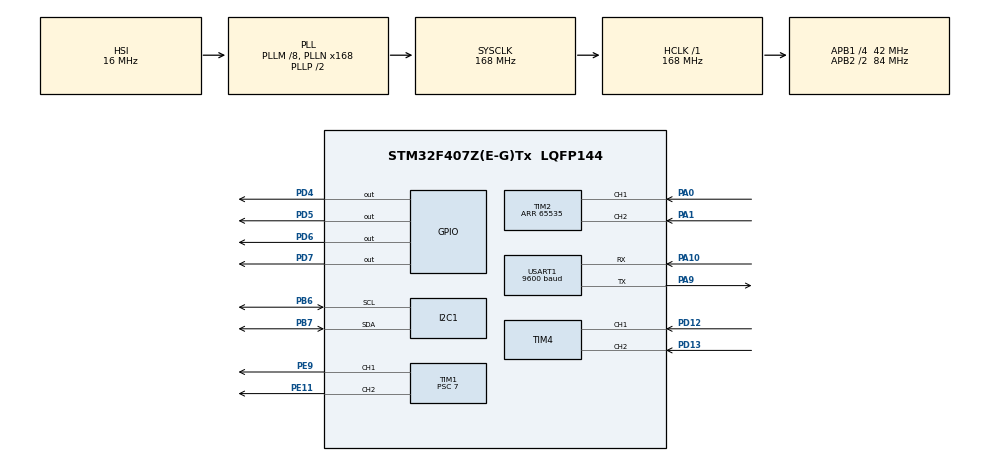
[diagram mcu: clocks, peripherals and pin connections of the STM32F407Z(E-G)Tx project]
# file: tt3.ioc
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FREERTOS.Tasks01=defaultTask,24,128,StartDefaultTask,Default,NULL,Dynamic,NULL,NULL;myTask02,30,128,StartTask02,Default,NULL,Dynamic,NULL,NULL;myTask03,31,128,StartTask03,Default,NULL,Dynamic,NULL,NULL
Mcu.Family=STM32F4
Mcu.Name=STM32F407Z(E-G)Tx
Mcu.Package=LQFP144
NVIC.I2C1_ER_IRQn=true\:5\:0\:false\:false\:true\:true\:true\:true\:true
NVIC.I2C1_EV_IRQn=true\:5\:0\:false\:false\:true\:true\:true\:true\:true
NVIC.PriorityGroup=NVIC_PRIORITYGROUP_4
NVIC.TIM6_DAC_IRQn=true\:5\:0\:false\:false\:true\:true\:true\:true\:true
NVIC.TIM7_IRQn=true\:15\:0\:false\:false\:true\:false\:false\:true\:true
NVIC.TimeBase=TIM7_IRQn
NVIC.TimeBaseIP=TIM7
NVIC.USART1_IRQn=true\:5\:0\:false\:false\:true\:true\:true\:true\:true
PA0-WKUP.Signal=S_TIM2_CH1_ETR
PA1.Signal=S_TIM2_CH2
PA10.Mode=Asynchronous
PA10.Signal=USART1_RX
PA13.Mode=Serial_Wire
PA13.Signal=SYS_JTMS-SWDIO
PA14.Mode=Serial_Wire
PA14.Signal=SYS_JTCK-SWCLK
PA9.Mode=Asynchronous
PA9.Signal=USART1_TX
PB6.GPIO_Pu=GPIO_PULLUP
PB6.Mode=I2C
PB6.Signal=I2C1_SCL
PB7.GPIO_Pu=GPIO_PULLUP
PB7.Mode=I2C
PB7.Signal=I2C1_SDA
PC14-OSC32_IN.Mode=LSE-External-Oscillator
PC14-OSC32_IN.Signal=RCC_OSC32_IN
PC15-OSC32_OUT.Mode=LSE-External-Oscillator
PC15-OSC32_OUT.Signal=RCC_OSC32_OUT
PD12.Signal=S_TIM4_CH1
PD13.Signal=S_TIM4_CH2
PD4.Signal=GPIO_Output
PD5.Signal=GPIO_Output
PD6.Signal=GPIO_Output
PD7.Signal=GPIO_Output
PE11.Signal=S_TIM1_CH2
PE9.Signal=S_TIM1_CH1
PH0-OSC_IN.Mode=HSE-External-Oscillator
PH0-OSC_IN.Signal=RCC_OSC_IN
PH1-OSC_OUT.Mode=HSE-External-Oscillator
PH1-OSC_OUT.Signal=RCC_OSC_OUT
ProjectManager.HeapSize=0x200
ProjectManager.StackSize=0x400
ProjectManager.TargetToolchain=MDK-ARM V5.32
RCC.48MHZClocksFreq_Value=84000000
RCC.AHBFreq_Value=168000000
RCC.APB1CLKDivider=RCC_HCLK_DIV4
RCC.APB1Freq_Value=42000000
RCC.APB1TimFreq_Value=84000000
RCC.APB2CLKDivider=RCC_HCLK_DIV2
RCC.APB2Freq_Value=84000000
RCC.APB2TimFreq_Value=168000000
RCC.CortexFreq_Value=168000000
RCC.HCLKFreq_Value=168000000
RCC.HSE_VALUE=25000000
RCC.HSI_VALUE=16000000
RCC.PLLM=8
RCC.PLLN=168
RCC.SYSCLKFreq_VALUE=168000000
RCC.SYSCLKSource=RCC_SYSCLKSOURCE_PLLCLK
RCC.VCOOutputFreq_Value=336000000
SH.S_TIM1_CH1.0=TIM1_CH1,PWM Generation1 CH1
SH.S_TIM1_CH2.0=TIM1_CH2,PWM Generation2 CH2
SH.S_TIM2_CH1_ETR.0=TIM2_CH1,Encoder_Interface
SH.S_TIM2_CH2.0=TIM2_CH2,Encoder_Interface
SH.S_TIM4_CH1.0=TIM4_CH1,Encoder_Interface
SH.S_TIM4_CH2.0=TIM4_CH2,Encoder_Interface
TIM1.AutoReloadPreload=TIM_AUTORELOAD_PRELOAD_ENABLE
TIM1.Channel-PWM\ Generation1\ CH1=TIM_CHANNEL_1
TIM1.Channel-PWM\ Generation2\ CH2=TIM_CHANNEL_2
TIM1.Period=999
TIM1.Prescaler=7
TIM2.EncoderMode=TIM_ENCODERMODE_TI12
TIM2.Period=65535
TIM4.EncoderMode=TIM_ENCODERMODE_TI12
TIM6.Period=99
TIM6.Prescaler=8399
USART1.BaudRate=9600
USART1.VirtualMode=VM_ASYNC
VP_FREERTOS_VS_CMSIS_V2.Mode=CMSIS_V2
VP_SYS_VS_tim7.Mode=TIM7
VP_TIM6_VS_ClockSourceINT.Mode=Enable_Timer
board=custom

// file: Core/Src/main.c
/* USER CODE BEGIN Header */
/**
  ******************************************************************************
  * @file           : main.c
  * @brief          : Main program body
  ******************************************************************************
  * @attention
  *
  * Copyright (c) 2026 STMicroelectronics.
  * All rights reserved.
  *
  * This software is licensed under terms that can be found in the LICENSE file
  * in the root directory of this software component.
  * If no LICENSE file comes with this software, it is provided AS-IS.
  *
  ******************************************************************************
  */
/* USER CODE END Header */
#include "main.h"
#include "cmsis_os.h"
#include "i2c.h"
#include "tim.h"
#include "usart.h"
#include "gpio.h"

/* USER CODE BEGIN Includes */
#include "stm32f4xx_hal_tim.h"
#include <math.h>
#include "motor.h"
#include "MPU6050.h"
#include "lu9685.h"
/* USER CODE END Includes */

/* USER CODE BEGIN PV */
// 全局变量：存储最终的实际转速（rpm）
// 2. PID结构体

// 3. 全局变量

/* USER CODE END PV */

void SystemClock_Config(void);
void MX_FREERTOS_Init(void);
/* USER CODE BEGIN PFP */
void Error_Handler(void);
/* USER CODE END PFP */

int main(void)
{

  /* MCU Configuration--------------------------------------------------------*/

  /* Reset of all peripherals, Initializes the Flash interface and the Systick. */
  HAL_Init();

  /* Configure the system clock */
  SystemClock_Config();

  /* Initialize all configured peripherals */
  MX_GPIO_Init();
  MX_TIM2_Init();
  MX_TIM4_Init();
  MX_TIM6_Init();
  MX_TIM1_Init();
  MX_I2C1_Init();
  MX_USART1_UART_Init();
  /* USER CODE BEGIN 2 */
  HAL_TIM_PWM_Start(&htim2,TIM_CHANNEL_1);//启
  HAL_TIM_PWM_Start(&htim2,TIM_CHANNEL_2);//启
  HAL_TIM_PWM_Start(&htim4,TIM_CHANNEL_1);//启
  HAL_TIM_PWM_Start(&htim4,TIM_CHANNEL_2);//启
   HAL_TIM_PWM_Start(&htim1, TIM_CHANNEL_1);  // 启动左电机PWM
  HAL_TIM_PWM_Start(&htim1, TIM_CHANNEL_2);  // 启动右电机PWM
  htim2.Instance->CNT = 0x7FFF;              // TIM2计数器初始化
  htim4.Instance->CNT = 0x7FFF;              // TIM4计数器初始化

  __HAL_TIM_CLEAR_FLAG(&htim6,TIM_FLAG_UPDATE);
  HAL_TIM_Base_Start_IT(&htim6);
  PID_Init(&pidLeft, 10.7f,0.3f, 0.3f, PWM_ARR, 20, INTEGRAL_SEP_THRESHOLD, INTEGRAL_LIMIT);
  PID_Init(&pidRight, 10.7f,0.3f, 0.3f, PWM_ARR, 20, INTEGRAL_SEP_THRESHOLD, INTEGRAL_LIMIT);
  PID_Init(&pidYaw,1.5f, 0.2f, 0.2f, 50.0f, -50.0f, 5.0f, 20.0f);
  // 6. 设置目标转速（50rpm，可根据需求修改）
  leftTargetRpm  = 30.0f;
  rightTargetRpm = 30.0f;
  HAL_GPIO_WritePin(GPIOD,GPIO_PIN_4,GPIO_PIN_SET);
  HAL_GPIO_WritePin(GPIOD,GPIO_PIN_7,GPIO_PIN_SET);
  MPU6050_Init();
   LU9685_SoftReset(&huart1);
    HAL_Delay(100);
	uint8_t ID;
MPU6050_Calibrate();
  /* USER CODE END 2 */

  /* Init scheduler */
  osKernelInitialize();  /* Call init function for freertos objects (in cmsis_os2.c) */
  MX_FREERTOS_Init();

  /* Start scheduler */
  osKernelStart();

  /* We should never get here as control is now taken by the scheduler */

  /* Infinite loop */
  while (1)
  {

  }
}

void SystemClock_Config(void)
{
  RCC_OscInitTypeDef RCC_OscInitStruct = {0};
  RCC_ClkInitTypeDef RCC_ClkInitStruct = {0};

  /** Configure the main internal regulator output voltage
  */
  __HAL_RCC_PWR_CLK_ENABLE();
  __HAL_PWR_VOLTAGESCALING_CONFIG(PWR_REGULATOR_VOLTAGE_SCALE1);

  /** Initializes the RCC Oscillators according to the specified parameters
  * in the RCC_OscInitTypeDef structure.
  */
  RCC_OscInitStruct.OscillatorType = RCC_OSCILLATORTYPE_HSI;
  RCC_OscInitStruct.HSIState = RCC_HSI_ON;
  RCC_OscInitStruct.HSICalibrationValue = RCC_HSICALIBRATION_DEFAULT;
  RCC_OscInitStruct.PLL.PLLState = RCC_PLL_ON;
  RCC_OscInitStruct.PLL.PLLSource = RCC_PLLSOURCE_HSI;
  RCC_OscInitStruct.PLL.PLLM = 8;
  RCC_OscInitStruct.PLL.PLLN = 168;
  RCC_OscInitStruct.PLL.PLLP = RCC_PLLP_DIV2;
  RCC_OscInitStruct.PLL.PLLQ = 4;
  if (HAL_RCC_OscConfig(&RCC_OscInitStruct) != HAL_OK)
  {
    Error_Handler();
  }

  /** Initializes the CPU, AHB and APB buses clocks
  */
  RCC_ClkInitStruct.ClockType = RCC_CLOCKTYPE_HCLK|RCC_CLOCKTYPE_SYSCLK
                              |RCC_CLOCKTYPE_PCLK1|RCC_CLOCKTYPE_PCLK2;
  RCC_ClkInitStruct.SYSCLKSource = RCC_SYSCLKSOURCE_PLLCLK;
  RCC_ClkInitStruct.AHBCLKDivider = RCC_SYSCLK_DIV1;
  RCC_ClkInitStruct.APB1CLKDivider = RCC_HCLK_DIV4;
  RCC_ClkInitStruct.APB2CLKDivider = RCC_HCLK_DIV2;

  if (HAL_RCC_ClockConfig(&RCC_ClkInitStruct, FLASH_LATENCY_5) != HAL_OK)
  {
    Error_Handler();
  }
}

void HAL_TIM_PeriodElapsedCallback(TIM_HandleTypeDef *htim)
{
  if (htim->Instance == TIM7)
  {
    HAL_IncTick();
  }
  /* USER CODE BEGIN Callback 1 */
// if (htim == &htim6)
//  {
//    // 1. 读取实际转速
//    Calculate_Motor_Speed();
//    // 2. PID计算
//    leftPwm = (int)PID_Calculate(&pidLeft, leftTargetRpm, leftSpeed_rpm);
//    rightPwm = (int)PID_Calculate(&pidRight, rightTargetRpm, rightSpeed_rpm);
////	  rightPwm=100;
////	  leftPwm =100;
//    // 3. 更新PWM
//    Set_PWM_Duty(TIM_CHANNEL_1, leftPwm);
//    Set_PWM_Duty(TIM_CHANNEL_2, rightPwm);
//  }
  /* USER CODE END Callback 1 */
}

void Error_Handler(void)
{
  __disable_irq();
  while (1)
  {
  }
}

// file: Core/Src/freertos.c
/* USER CODE BEGIN Header */
/**
  ******************************************************************************
  * File Name          : freertos.c
  * Description        : Code for freertos applications
  ******************************************************************************
  * @attention
  *
  * Copyright (c) 2026 STMicroelectronics.
  * All rights reserved.
  *
  * This software is licensed under terms that can be found in the LICENSE file
  * in the root directory of this software component.
  * If no LICENSE file comes with this software, it is provided AS-IS.
  *
  ******************************************************************************
  */
/* USER CODE END Header */

#include "FreeRTOS.h"
#include "task.h"
#include "main.h"
#include "cmsis_os.h"

/* USER CODE BEGIN Includes */
#include "motor.h"
#include "MPU6050.h"
#include "lu9685.h"
#include "tim.h"
/* USER CODE END Includes */

/* Definitions for defaultTask */
osThreadId_t defaultTaskHandle;
const osThreadAttr_t defaultTask_attributes = {
  .name = "defaultTask",
  .stack_size = 128 * 4,
  .priority = (osPriority_t) osPriorityNormal,
};
/* Definitions for myTask02 */
osThreadId_t myTask02Handle;
const osThreadAttr_t myTask02_attributes = {
  .name = "myTask02",
  .stack_size = 128 * 4,
  .priority = (osPriority_t) osPriorityNormal6,
};
/* Definitions for myTask03 */
osThreadId_t myTask03Handle;
const osThreadAttr_t myTask03_attributes = {
  .name = "myTask03",
  .stack_size = 128 * 4,
  .priority = (osPriority_t) osPriorityNormal7,
};

void StartDefaultTask(void *argument);
void StartTask02(void *argument);
void StartTask03(void *argument);

void MX_FREERTOS_Init(void); /* (MISRA C 2004 rule 8.1) */

void MX_FREERTOS_Init(void) {

  /* Create the thread(s) */
  /* creation of defaultTask */
  defaultTaskHandle = osThreadNew(StartDefaultTask, NULL, &defaultTask_attributes);

  /* creation of myTask02 */
  myTask02Handle = osThreadNew(StartTask02, NULL, &myTask02_attributes);

  /* creation of myTask03 */
  myTask03Handle = osThreadNew(StartTask03, NULL, &myTask03_attributes);

}

void StartDefaultTask(void *argument)
{
  for(;;)
  {
    osDelay(1);
  }
}

void StartTask02(void *argument)
{
  /* USER CODE BEGIN StartTask02 */

	 first_road();
	 stop_motor();
     first_arm();
	 second_road();
	stop_motor();
     second_arm();
	 third_road();
//	stop_motor();
//     first_arm();
	 forth_road();
    fifth_road();
//	stop_motor();
//     second_arm();
	 sixth_road();
  /* Infinite loop */
  for(;;)
  {
//	   uint8_t all_angles[20];
//	   for(int i=0; i<20; i++) all_angles[i] =200;
//   LU9685_AllServoCtrl(&huart1, all_angles);
	  Set_PWM_Duty(TIM_CHANNEL_1, 00);
    Set_PWM_Duty(TIM_CHANNEL_2, 00);
    osDelay(10);
  }
  /* USER CODE END StartTask02 */
}

void StartTask03(void *argument)
{
  /* USER CODE BEGIN StartTask03 */
  /* Infinite loop */
  for(;;)
  {
	   MPU6050_CalcYaw_Complementary();
    osDelay(10);
  }
  /* USER CODE END StartTask03 */
}
